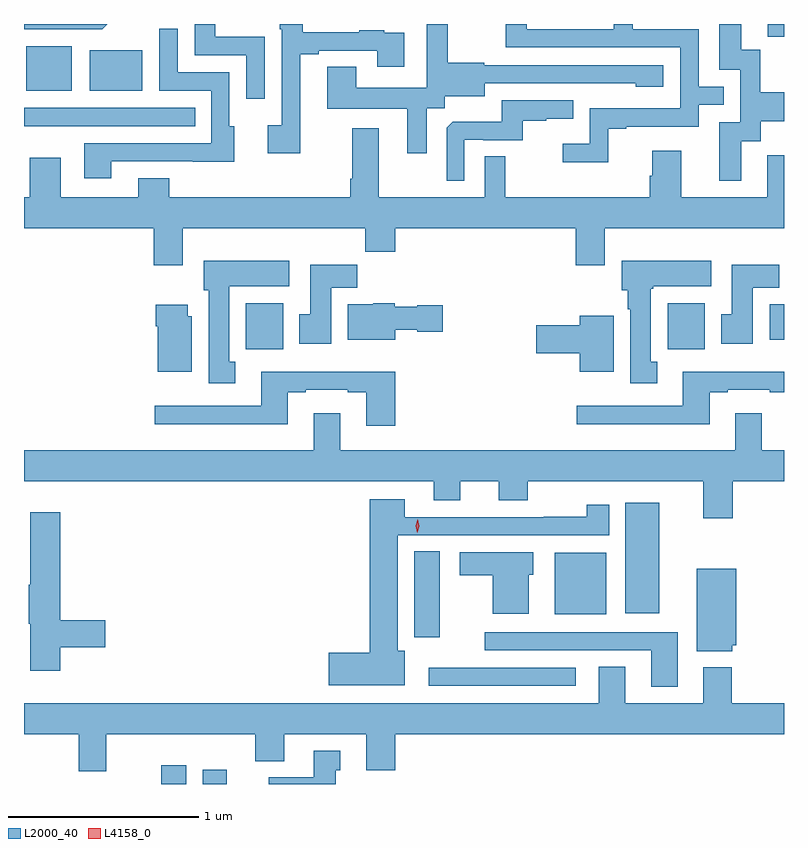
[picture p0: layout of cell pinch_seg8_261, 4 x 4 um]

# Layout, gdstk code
import gdstk
lib = gdstk.Library(unit=1e-6, precision=1e-09)
def R(c, l, rs):  # rectangles x0, y0, x1, y1
    for r in rs: c.add(gdstk.rectangle(r[:2], r[2:], *l))
def P(c, l, *ps):  # polygons
    for p in ps: c.add(gdstk.Polygon(p, *l))
L2000_40 = (2000, 40)
L4158_0 = (4158, 0)

pinch_seg8_261 = lib.new_cell('pinch_seg8_261')
R(pinch_seg8_261, L2000_40, [(494.81,1154.867,494.941,1154.965), (495.029,1154.867,495.154,1154.941), (496.218,1155.384,496.99,1155.48), (496.142,1155.639,496.276,1156.091), (496.88,1155.761,497.152,1156.084), (497.252,1155.767,497.431,1156.348), (495.254,1157.156,495.451,1157.398), (497.474,1157.156,497.671,1157.398), (498.011,1157.204,498.087,1157.392), (494.099,1158.515,494.338,1158.751), (494.432,1158.515,494.71,1158.73), (498.002,1158.801,498.087,1158.867)])
P(pinch_seg8_261, L2000_40, [(497.163,1158.315),(497.257,1158.315),(497.257,1158.327),(497.637,1158.327),(497.637,1158.441),(497.771,1158.441),(497.771,1158.537),(497.637,1158.537),(497.637,1158.84),(497.29,1158.84),(497.29,1158.867),(497.192,1158.867),(497.192,1158.84),(496.732,1158.84),(496.732,1158.867),(496.623,1158.867),(496.623,1158.744),(497.541,1158.744),(497.541,1158.423),(497.064,1158.423),(497.064,1158.238),(496.923,1158.238),(496.923,1158.14),(497.163,1158.14)],
  [(495.354,1158.799),(495.093,1158.799),(495.093,1158.867),(494.985,1158.867),(494.985,1158.702),(495.258,1158.702),(495.258,1158.474),(495.354,1158.474)],
  [(494.526,1158.867),(494.087,1158.867),(494.087,1158.84),(494.499,1158.84)],
  [(497.863,1158.25),(497.965,1158.25),(497.965,1158.356),(498.087,1158.356),(498.087,1158.508),(497.961,1158.508),(497.961,1158.731),(497.863,1158.731),(497.863,1158.867),(497.747,1158.867),(497.747,1158.627),(497.856,1158.627),(497.856,1158.351),(497.747,1158.351),(497.747,1158.042),(497.863,1158.042)],
  [(496.207,1158.424),(496.302,1158.424),(496.302,1158.488),(496.513,1158.488),(496.513,1158.555),(497.071,1158.555),(497.071,1158.554),(497.307,1158.554),(497.307,1158.536),(497.452,1158.536),(497.452,1158.651),(496.509,1158.651),(496.509,1158.664),(496.317,1158.664),(496.317,1158.867),(496.208,1158.867),(496.208,1158.773),(496.206,1158.773),(496.206,1158.532),(495.835,1158.532),(495.835,1158.641),(495.683,1158.641),(495.683,1158.422),(496.103,1158.422),(496.103,1158.186),(496.207,1158.186)],
  [(495.541,1158.708),(495.637,1158.708),(495.637,1158.726),(495.947,1158.726),(495.947,1158.642),(496.087,1158.642),(496.087,1158.822),(495.983,1158.822),(495.983,1158.835),(495.851,1158.835),(495.851,1158.824),(495.553,1158.824),(495.553,1158.867),(495.432,1158.867),(495.432,1158.839),(495.444,1158.839),(495.444,1158.334),(495.369,1158.334),(495.369,1158.186),(495.541,1158.186)],
  [(494.545,1158.144),(494.975,1158.144),(494.975,1158.143),(495.193,1158.143),(495.193,1158.33),(495.168,1158.33),(495.168,1158.612),(494.895,1158.612),(494.895,1158.841),(494.799,1158.841),(494.799,1158.516),(495.072,1158.516),(495.072,1158.24),(494.405,1158.24),(494.405,1158.054),(494.545,1158.054)],
  [(496.404,1158.258),(496.504,1158.258),(496.504,1158.255),(496.712,1158.255),(496.712,1158.357),(496.835,1158.357),(496.835,1158.368),(496.979,1158.368),(496.979,1158.465),(496.602,1158.465),(496.602,1158.353),(496.343,1158.353),(496.311,1158.321),(496.311,1158.041),(496.404,1158.041)],
  [(494.309,1158.33),(494.987,1158.33),(494.987,1158.426),(494.087,1158.426),(494.087,1158.329),(494.309,1158.329)],
  [(494.923,1157.792),(495.883,1157.792),(495.883,1157.668),(496.04,1157.668),(496.04,1157.792),(496.991,1157.792),(496.991,1157.598),(497.143,1157.598),(497.143,1157.792),(498.087,1157.792),(498.087,1158.175),(497.999,1158.175),(497.999,1157.956),(497.545,1157.956),(497.545,1158.199),(497.393,1158.199),(497.393,1158.069),(497.381,1158.069),(497.381,1157.956),(496.621,1157.956),(496.621,1158.17),(496.512,1158.17),(496.512,1157.956),(495.955,1157.956),(495.955,1158.319),(495.815,1158.319),(495.815,1158.052),(495.803,1158.052),(495.803,1157.956),(494.851,1157.956),(494.851,1158.055),(494.687,1158.055),(494.687,1157.956),(494.281,1157.956),(494.281,1158.163),(494.117,1158.163),(494.117,1157.956),(494.087,1157.956),(494.087,1157.792),(494.771,1157.792),(494.771,1157.598),(494.923,1157.598)],
  [(495.199,1157.09),(495.166,1157.09),(495.166,1157.486),(495.484,1157.486),(495.484,1157.62),(495.032,1157.62),(495.032,1157.466),(495.059,1157.466),(495.059,1156.977),(495.199,1156.977)],
  [(497.419,1157.09),(497.386,1157.09),(497.386,1157.473),(497.4,1157.473),(497.4,1157.486),(497.704,1157.486),(497.704,1157.62),(497.234,1157.62),(497.234,1157.466),(497.264,1157.466),(497.264,1157.366),(497.279,1157.366),(497.279,1156.977),(497.419,1156.977)],
  [(495.703,1157.48),(495.842,1157.48),(495.842,1157.599),(495.593,1157.599),(495.593,1157.34),(495.536,1157.34),(495.536,1157.184),(495.703,1157.184)],
  [(497.923,1157.48),(498.062,1157.48),(498.062,1157.599),(497.813,1157.599),(497.813,1157.34),(497.756,1157.34),(497.756,1157.184),(497.923,1157.184)],
  [(496.042,1157.258),(496.158,1157.258),(496.158,1157.246),(496.291,1157.246),(496.291,1157.388),(496.158,1157.388),(496.158,1157.38),(496.038,1157.38),(496.038,1157.398),(495.924,1157.398),(495.924,1157.392),(495.791,1157.392),(495.791,1157.204),(496.042,1157.204)],
  [(494.971,1157.328),(494.95,1157.328),(494.95,1157.389),(494.78,1157.389),(494.78,1157.276),(494.792,1157.276),(494.792,1157.036),(494.971,1157.036)],
  [(497.191,1157.332),(497.012,1157.332),(497.012,1157.282),(496.782,1157.282),(496.782,1157.135),(497.012,1157.135),(497.012,1157.036),(497.191,1157.036)],
  [(497.695,1156.929),(497.791,1156.929),(497.791,1156.941),(498.011,1156.941),(498.011,1156.929),(498.087,1156.929),(498.087,1157.038),(497.555,1157.038),(497.555,1156.857),(496.995,1156.857),(496.995,1156.76),(497.695,1156.76)],
  [(496.04,1157.038),(495.335,1157.038),(495.335,1156.857),(494.775,1156.857),(494.775,1156.76),(495.475,1156.76),(495.475,1156.929),(495.571,1156.929),(495.571,1156.941),(495.791,1156.941),(495.791,1156.929),(495.887,1156.929),(495.887,1156.752),(496.04,1156.752)],
  [(497.816,1156.46),(498.087,1156.46),(498.087,1156.624),(497.971,1156.624),(497.971,1156.819),(497.831,1156.819),(497.831,1156.624),(495.751,1156.624),(495.751,1156.819),(495.611,1156.819),(495.611,1156.624),(494.087,1156.624),(494.087,1156.46),(496.244,1156.46),(496.244,1156.361),(496.384,1156.361),(496.384,1156.46),(496.586,1156.46),(496.586,1156.361),(496.739,1156.361),(496.739,1156.46),(497.663,1156.46),(497.663,1156.266),(497.816,1156.266)],
  [(496.09,1155.568),(496.054,1155.568),(496.054,1156.176),(497.167,1156.176),(497.167,1156.336),(497.05,1156.336),(497.05,1156.274),(496.822,1156.274),(496.822,1156.272),(496.09,1156.272),(496.09,1156.366),(495.908,1156.366),(495.908,1155.557),(495.69,1155.557),(495.69,1155.386),(496.09,1155.386)],
  [(494.279,1155.586),(494.515,1155.586),(494.515,1155.728),(494.279,1155.728),(494.279,1156.297),(494.12,1156.297),(494.12,1155.917),(494.113,1155.917),(494.113,1155.711),(494.12,1155.711),(494.12,1155.462),(494.279,1155.462)],
  [(496.744,1155.969),(496.768,1155.969),(496.768,1156.087),(496.38,1156.087),(496.38,1155.965),(496.553,1155.965),(496.553,1155.764),(496.744,1155.764)],
  [(497.814,1155.597),(497.836,1155.597),(497.836,1156),(497.627,1156),(497.627,1155.566),(497.814,1155.566)],
  [(497.527,1155.666),(496.512,1155.666),(496.512,1155.57),(497.387,1155.57),(497.387,1155.378),(497.527,1155.378)],
  [(494.521,1155.128),(495.305,1155.128),(495.305,1154.987),(495.457,1154.987),(495.457,1155.128),(495.887,1155.128),(495.887,1154.939),(496.04,1154.939),(496.04,1155.128),(498.087,1155.128),(498.087,1155.292),(497.811,1155.292),(497.811,1155.481),(497.663,1155.481),(497.663,1155.292),(497.251,1155.292),(497.251,1155.485),(497.111,1155.485),(497.111,1155.292),(494.087,1155.292),(494.087,1155.128),(494.374,1155.128),(494.374,1154.934),(494.521,1154.934)],
  [(495.727,1154.94),(495.751,1154.94),(495.751,1155.043),(495.611,1155.043),(495.611,1154.902),(495.376,1154.902),(495.376,1154.867),(495.727,1154.867)])
P(pinch_seg8_261, L4158_0, [(496.157,1156.189),(496.157,1156.189),(496.148,1156.225),(496.16,1156.261),(496.16,1156.261),(496.16,1156.261),(496.168,1156.224),(496.157,1156.189)])

lib.write_gds('pinch_seg8_261.gds')
